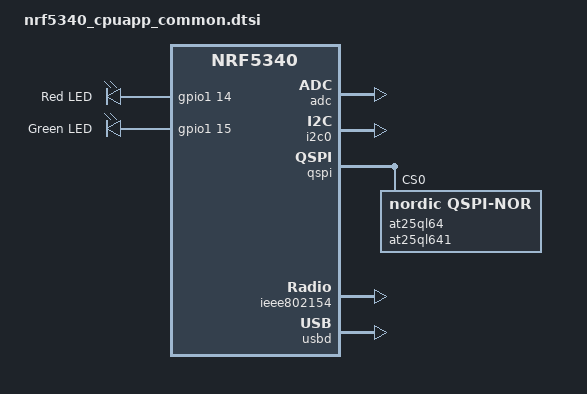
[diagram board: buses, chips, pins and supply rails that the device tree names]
/*
 * Copyright (c) 2019-2020 Nordic Semiconductor ASA
 *
 * SPDX-License-Identifier: Apache-2.0
 */
#include "nrf5340_cpuapp_common-pinctrl.dtsi"
#include <zephyr/dt-bindings/input/input-event-codes.h>

/ {

	chosen {
		zephyr,console = &cdc_acm_console;
		zephyr,shell-uart = &cdc_acm_console;
		zephyr,bt-hci-ipc = &ipc0;
		nordic,802154-spinel-ipc = &ipc0;
		zephyr,ieee802154 = &ieee802154;
	};

	leds {
		compatible = "gpio-leds";
		led0: led_0 {
			gpios = <&gpio1 14 GPIO_ACTIVE_HIGH>;
			label = "Red LED";
		};
		led1: led_1 {
			gpios = <&gpio1 15 GPIO_ACTIVE_HIGH>;
			label = "Green LED";
		};
	};

	gpio_fwd: nrf-gpio-forwarder {
		compatible = "nordic,nrf-gpio-forwarder";
		status = "okay";
		uart {
			gpios = <&gpio1 1 0>, <&gpio1 0 0>, <&gpio0 11 0>, <&gpio0 10 0>;
		};
	};

	/* These aliases are provided for compatibility with samples */
	aliases {
		led0 = &led0;
		led1 = &led1;
		bootloader-led0 = &led0;
		mcuboot-led0 = &led0;
		watchdog0 = &wdt0;
		spi-flash0 = &at25ql64;
	};
};

&adc {
	status = "okay";
};

&gpiote {
	status = "okay";
};

&gpio0 {
	status = "okay";
};

&gpio1 {
	status = "okay";
};

&i2c0 {
	compatible = "nordic,nrf-twim";
	status = "okay";
	pinctrl-0 = <&i2c0_default>;
	pinctrl-1 = <&i2c0_sleep>;
	pinctrl-names = "default", "sleep";
};

&qspi {
	status = "okay";
	pinctrl-0 = <&qspi_default>;
	pinctrl-1 = <&qspi_sleep>;
	pinctrl-names = "default", "sleep";
	at25ql64: at25ql641@0 {
		compatible = "nordic,qspi-nor";
		reg = <0>;
		/* MX25R64 supports only pp and pp4io */
		writeoc = "pp4io";
		/* MX25R64 supports all readoc options */
		readoc = "read4io";
		sck-frequency = <8000000>;
		jedec-id = [c2 28 17];
		sfdp-bfp = [
			e5 20 f1 ff  ff ff ff 03  44 eb 08 6b  08 3b 04 bb
			ee ff ff ff  ff ff 00 ff  ff ff 00 ff  0c 20 0f 52
			10 d8 00 ff  23 72 f5 00  82 ed 04 cc  44 83 68 44
			30 b0 30 b0  f7 c4 d5 5c  00 be 29 ff  f0 d0 ff ff
		];
		size = <DT_SIZE_M(64)>;
		has-dpd;
		t-enter-dpd = <10000>;
		t-exit-dpd = <35000>;
	};
};

&flash0 {

	partitions {
		compatible = "fixed-partitions";
		#address-cells = <1>;
		#size-cells = <1>;

		boot_partition: partition@0 {
			label = "mcuboot";
			reg = <0x00000000 0x00010000>;
		};
		slot0_partition: partition@10000 {
			label = "image-0";
		};
		slot0_ns_partition: partition@50000 {
			label = "image-0-nonsecure";
		};
		slot1_partition: partition@80000 {
			label = "image-1";
		};
		slot1_ns_partition: partition@c0000 {
			label = "image-1-nonsecure";
		};
		/* 0xf0000 to 0xf7fff reserved for TF-M partitions */
		storage_partition: partition@f8000 {
			label = "storage";
			reg = <0x000f8000 0x00008000>;
		};
	};
};

&ieee802154 {
	status = "okay";
};

zephyr_udc0: &usbd {
	compatible = "nordic,nrf-usbd";
	status = "okay";
	cdc_acm_console: cdc_acm_console {
		compatible = "zephyr,cdc-acm-uart";
	};
};

/ {

	reserved-memory {
		#address-cells = <1>;
		#size-cells = <1>;
		ranges;

		sram0_image: image@20000000 {
			/* Zephyr image(s) memory */
		};

		sram0_s: image_s@20000000 {
			/* Secure image memory */
		};

		sram0_ns: image_ns@20040000 {
			/* Non-Secure image memory */
		};
	};
};

/* Include partition configuration file */
#include "nrf5340_cpuapp_partition_conf.dtsi"
